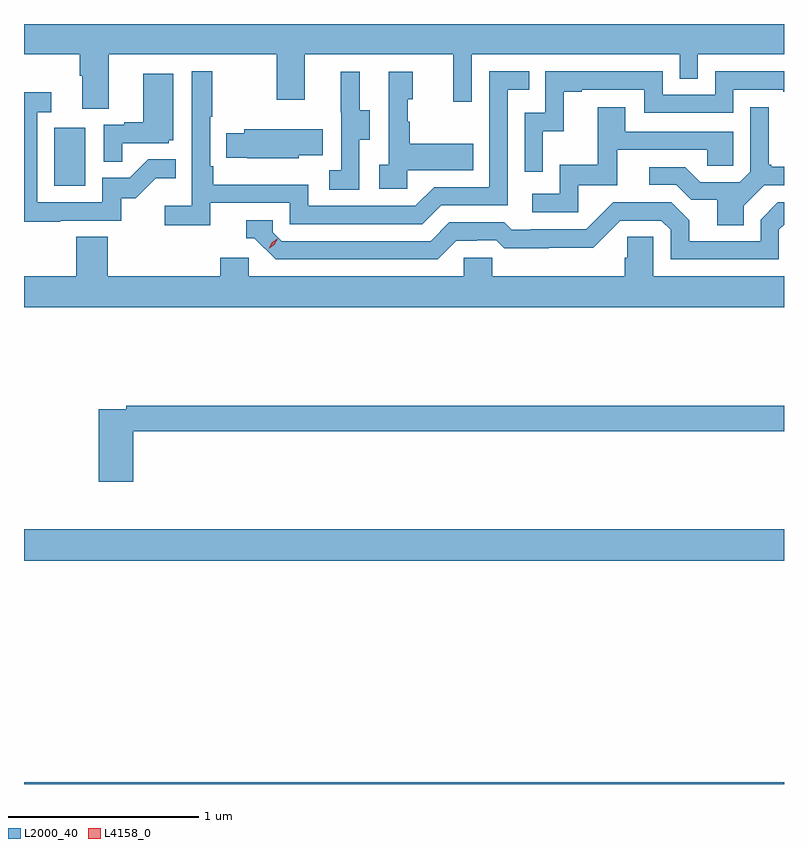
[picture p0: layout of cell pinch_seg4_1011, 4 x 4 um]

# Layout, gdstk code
import gdstk
lib = gdstk.Library(unit=1e-6, precision=1e-09)
def R(c, l, rs):  # rectangles x0, y0, x1, y1
    for r in rs: c.add(gdstk.rectangle(r[:2], r[2:], *l))
def P(c, l, *ps):  # polygons
    for p in ps: c.add(gdstk.Polygon(p, *l))
L2000_40 = (2000, 40)
L4158_0 = (4158, 0)

pinch_seg4_1011 = lib.new_cell('pinch_seg4_1011')
R(pinch_seg4_1011, L2000_40, [(792.311,770.336,796.311,770.344), (792.311,771.512,796.311,771.676), (792.47,773.484,792.634,773.791)])
P(pinch_seg4_1011, L2000_40, [(792.311,774.176),(792.605,774.176),(792.605,774.064),(792.617,774.064),(792.617,773.89),(792.757,773.89),(792.757,774.176),(793.642,774.176),(793.642,773.937),(793.789,773.937),(793.789,774.176),(794.57,774.176),(794.57,773.928),(794.667,773.928),(794.667,774.176),(795.762,774.176),(795.762,774.049),(795.858,774.049),(795.858,774.176),(796.311,774.176),(796.311,774.336),(792.311,774.336)],
  [(793.292,773.394),(793.71,773.394),(793.71,773.283),(794.407,773.283),(794.506,773.382),(794.856,773.382),(794.856,773.991),(794.969,773.991),(794.969,774.087),(794.76,774.087),(794.76,773.478),(794.469,773.478),(794.37,773.379),(793.806,773.379),(793.806,773.491),(793.307,773.491),(793.307,773.587),(793.29,773.587),(793.29,773.848),(793.303,773.848),(793.303,774.088),(793.194,774.088),(793.194,773.38),(793.053,773.38),(793.053,773.278),(793.292,773.278)],
  [(795.042,773.771),(795.152,773.771),(795.152,773.979),(795.247,773.979),(795.247,773.991),(795.576,773.991),(795.576,773.868),(796.044,773.868),(796.044,773.991),(796.307,773.991),(796.307,773.979),(796.311,773.979),(796.311,774.087),(795.948,774.087),(795.948,773.964),(795.672,773.964),(795.672,774.087),(795.054,774.087),(795.054,773.868),(794.946,773.868),(794.946,773.559),(795.042,773.559)],
  [(794.076,773.728),(794.131,773.728),(794.131,773.883),(794.077,773.883),(794.077,774.085),(793.979,774.085),(793.979,773.871),(793.98,773.871),(793.98,773.567),(793.917,773.567),(793.917,773.464),(794.076,773.464)],
  [(794.328,773.567),(794.675,773.567),(794.675,773.707),(794.341,773.707),(794.341,773.822),(794.331,773.822),(794.331,773.94),(794.356,773.94),(794.356,774.085),(794.232,774.085),(794.232,773.594),(794.181,773.594),(794.181,773.469),(794.328,773.469)],
  [(792.827,773.709),(793.074,773.709),(793.074,773.724),(793.096,773.724),(793.096,774.073),(792.938,774.073),(792.938,773.818),(792.839,773.818),(792.839,773.805),(792.732,773.805),(792.732,773.611),(792.827,773.611)],
  [(792.503,773.301),(792.822,773.301),(792.822,773.418),(792.898,773.418),(793.005,773.525),(793.109,773.525),(793.109,773.624),(792.965,773.624),(792.867,773.526),(792.723,773.526),(792.723,773.397),(792.381,773.397),(792.381,773.871),(792.454,773.871),(792.454,773.977),(792.311,773.977),(792.311,773.296),(792.503,773.296)],
  [(796.099,773.38),(796.206,773.487),(796.311,773.487),(796.311,773.584),(796.243,773.584),(796.243,773.596),(796.231,773.596),(796.231,773.899),(796.134,773.899),(796.134,773.559),(796.077,773.502),(795.871,773.502),(795.79,773.583),(795.603,773.583),(795.603,773.49),(795.744,773.49),(795.824,773.41),(795.959,773.41),(795.959,773.278),(796.099,773.278)],
  [(795.228,773.487),(795.433,773.487),(795.433,773.673),(795.907,773.673),(795.907,773.589),(796.044,773.589),(796.044,773.769),(795.475,773.769),(795.475,773.899),(795.331,773.899),(795.331,773.596),(795.132,773.596),(795.132,773.442),(794.985,773.442),(794.985,773.346),(795.228,773.346)],
  [(793.758,773.645),(793.883,773.645),(793.883,773.782),(793.469,773.782),(793.469,773.76),(793.375,773.76),(793.375,773.631),(793.486,773.631),(793.486,773.63),(793.758,773.63)],
  [(794.587,773.196),(794.694,773.196),(794.694,773.199),(794.797,773.199),(794.839,773.157),(795.072,773.157),(795.072,773.159),(795.308,773.159),(795.45,773.301),(795.666,773.301),(795.714,773.253),(795.714,773.097),(796.284,773.097),(796.284,773.253),(796.311,773.28),(796.311,773.397),(796.278,773.397),(796.188,773.307),(796.188,773.193),(795.811,773.193),(795.811,773.303),(795.717,773.397),(795.411,773.397),(795.27,773.256),(794.977,773.256),(794.977,773.253),(794.878,773.253),(794.839,773.292),(794.55,773.292),(794.451,773.193),(793.668,773.193),(793.62,773.241),(793.62,773.304),(793.481,773.304),(793.481,773.208),(793.524,773.208),(793.635,773.097),(794.488,773.097)],
  [(796.311,773.008),(795.624,773.008),(795.624,773.216),(795.487,773.216),(795.487,773.106),(795.473,773.106),(795.473,773.008),(794.775,773.008),(794.775,773.106),(794.625,773.106),(794.625,773.008),(793.494,773.008),(793.494,773.106),(793.343,773.106),(793.343,773.008),(792.752,773.008),(792.752,773.216),(792.587,773.216),(792.587,773.008),(792.311,773.008),(792.311,772.844),(796.311,772.844)],
  [(792.887,772.192),(796.311,772.192),(796.311,772.328),(792.85,772.328),(792.85,772.308),(792.704,772.308),(792.704,771.927),(792.887,771.927)])
P(pinch_seg4_1011, L4158_0, [(793.599,773.153),(793.599,773.154),(793.615,773.186),(793.645,773.206),(793.646,773.206),(793.646,773.205),(793.629,773.173),(793.599,773.153)])

lib.write_gds('pinch_seg4_1011.gds')
